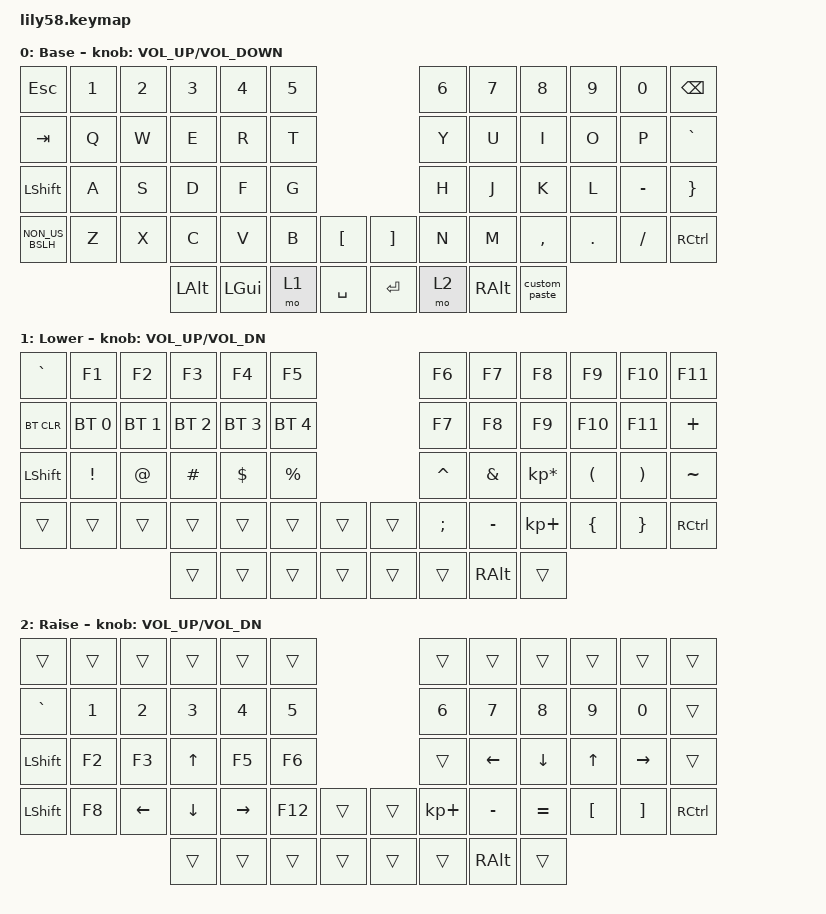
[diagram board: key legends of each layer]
/*
 * Copyright (c) 2020 The ZMK Contributors
 *
 * SPDX-License-Identifier: MIT
 */

#include <behaviors.dtsi>
#include <dt-bindings/zmk/bt.h>
#include <dt-bindings/zmk/keys.h>

/ {
    macros {
        custom_paste: new_macro {
            compatible = "zmk,behavior-macro";
            #binding-cells = <0>;
            bindings = <&kp LEFT_WIN &kp V>;
            label = "NEW_MACRO";
        };
    };

    behaviors {
        Change_music: Change_music {
            compatible = "zmk,behavior-sensor-rotate";
            label = "CHANGE_MUSIC";
            #sensor-binding-cells = <0>;
            bindings = <&kp K_NEXT>, <&kp K_BACK>;
        };
    };

    keymap {
        compatible = "zmk,keymap";

        default_layer {
            // ------------------------------------------------------------------------------------------------------------
            // |  ESC  |  1  |  2  |  3   |  4   |  5   |                   |  6   |  7    |  8    |  9   |   0   |   `   |
            // |  TAB  |  Q  |  W  |  E   |  R   |  T   |                   |  Y   |  U    |  I    |  O   |   P   |   -   |
            // |  CTRL |  A  |  S  |  D   |  F   |  G   |                   |  H   |  J    |  K    |  L   |   ;   |   '   |
            // | SHIFT |  Z  |  X  |  C   |  V   |  B   |   "["  |  |  "]"  |  N   |  M    |  ,    |  .   |   /   | SHIFT |
            //                     | ALT  | GUI  | LOWER|  SPACE |  | ENTER | RAISE| BSPC  | GUI   |

            display-name = "Base";
            bindings = <
&kp ESC          &kp N1  &kp N2  &kp N3    &kp N4    &kp N5                         &kp N6  &kp N7         &kp N8         &kp N9   &kp N0     &kp BACKSPACE
&kp TAB          &kp Q   &kp W   &kp E     &kp R     &kp T                          &kp Y   &kp U          &kp I          &kp O    &kp P      &kp GRAVE
&kp LSHIFT       &kp A   &kp S   &kp D     &kp F     &kp G                          &kp H   &kp J          &kp K          &kp L    &kp MINUS  &kp RBRC
&kp NON_US_BSLH  &kp Z   &kp X   &kp C     &kp V     &kp B   &kp LBKT     &kp RBKT  &kp N   &kp M          &kp COMMA      &kp DOT  &kp SLASH  &kp RCTRL
                                 &kp LALT  &kp LGUI  &mo 1   &kp SPACE    &kp RET   &mo 2   &kp RIGHT_ALT  &custom_paste
            >;

            sensor-bindings = <&inc_dec_kp C_VOLUME_UP C_VOLUME_DOWN>;
        };

        lower_layer {
            // ------------------------------------------------------------------------------------------------------------
            // | BTCLR | BT1 | BT2 |  BT3 |  BT4 |  BT5 |                   |      |       |       |      |       |       |
            // |  F1   |  F2 |  F3 |  F4  |  F5  |  F6  |                   |  F7  |  F8   |  F9   |  F10 |  F11  |  F12  |
            // |   `   |  !  |  @  |  #   |  $   |  %   |                   |  ^   |  &    |  *    |  (   |   )   |   ~   |
            // |       |     |     |      |      |      |        |  |       |      |  _    |  +    |  {   |   }   |  "|"  |
            //                     |      |      |      |        |  |       |      |       |       |

            display-name = "Lower";
            bindings = <
&kp GRAVE   &kp F1        &kp F2        &kp F3        &kp F4        &kp F5                          &kp F6     &kp F7         &kp F8           &kp F9    &kp F10   &kp F11
&bt BT_CLR  &bt BT_SEL 0  &bt BT_SEL 1  &bt BT_SEL 2  &bt BT_SEL 3  &bt BT_SEL 4                    &kp F7     &kp F8         &kp F9           &kp F10   &kp F11   &kp PLUS
&kp LSHIFT  &kp EXCL      &kp AT        &kp HASH      &kp DOLLAR    &kp PRCNT                       &kp CARET  &kp AMPS       &kp KP_MULTIPLY  &kp LPAR  &kp RPAR  &kp TILDE
&trans      &trans        &trans        &trans        &trans        &trans        &trans    &trans  &kp SEMI   &kp MINUS      &kp KP_PLUS      &kp LBRC  &kp RBRC  &kp RCTRL
                                        &trans        &trans        &trans        &trans    &trans  &trans     &kp RIGHT_ALT  &trans
            >;

            sensor-bindings = <&inc_dec_kp C_VOL_UP C_VOL_DN>;
        };

        raise_layer {
            // ------------------------------------------------------------------------------------------------------------
            // |       |     |     |      |      |      |                   |      |       |       |      |       |       |
            // |   `   |  1  |  2  |  3   |  4   |  5   |                   |  6   |   7   |   8   |  9   |   0   |       |
            // |   F1  |  F2 |  F3 |  F4  |  F5  |  F6  |                   |      |   <-  |   v   |  ^   |  ->   |       |
            // |   F7  |  F8 |  F9 |  F10 |  F11 |  F12 |        |  |       |  +   |   -   |   =   |  [   |   ]   |   \   |
            //                     |      |      |      |        |  |       |      |       |       |

            display-name = "Raise";
            bindings = <
&trans      &trans  &trans          &trans          &trans     &trans                     &trans       &trans         &trans     &trans    &trans     &trans
&kp GRAVE   &kp N1  &kp N2          &kp N3          &kp N4     &kp N5                     &kp N6       &kp N7         &kp N8     &kp N9    &kp N0     &trans
&kp LSHIFT  &kp F2  &kp F3          &kp UP_ARROW    &kp F5     &kp F6                     &trans       &kp LEFT       &kp DOWN   &kp UP    &kp RIGHT  &trans
&kp LSHIFT  &kp F8  &kp LEFT_ARROW  &kp DOWN_ARROW  &kp RIGHT  &kp F12  &trans    &trans  &kp KP_PLUS  &kp MINUS      &kp EQUAL  &kp LBKT  &kp RBKT   &kp RCTRL
                                    &trans          &trans     &trans   &trans    &trans  &trans       &kp RIGHT_ALT  &trans
            >;

            sensor-bindings = <&inc_dec_kp C_VOL_UP C_VOL_DN>;
        };
    };
};
